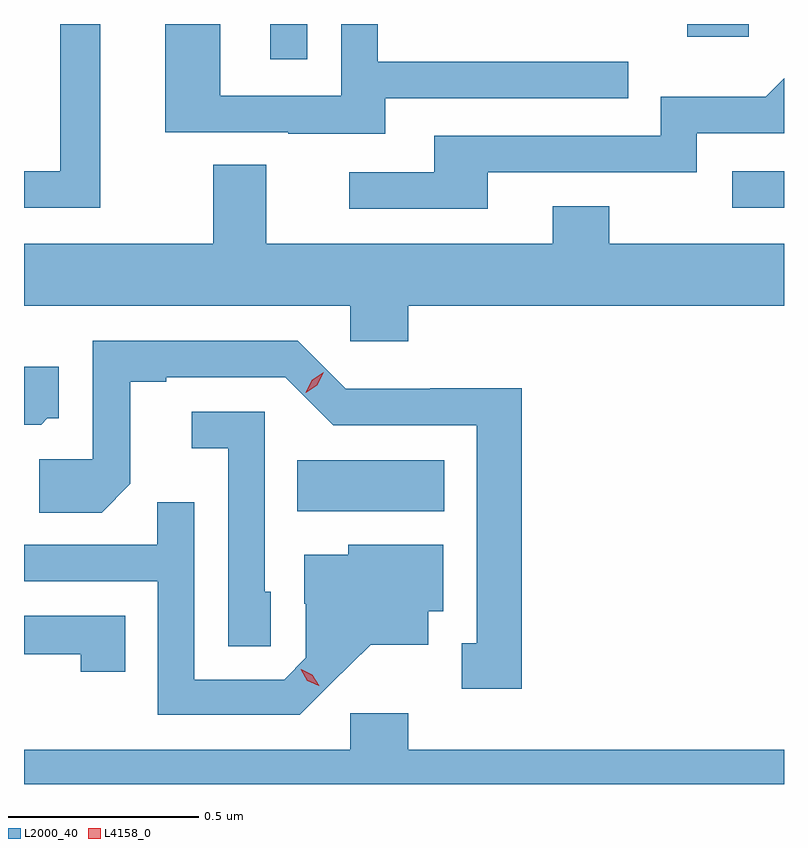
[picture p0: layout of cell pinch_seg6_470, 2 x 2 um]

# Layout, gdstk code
import gdstk
lib = gdstk.Library(unit=1e-6, precision=1e-09)
def R(c, l, rs):  # rectangles x0, y0, x1, y1
    for r in rs: c.add(gdstk.rectangle(r[:2], r[2:], *l))
def P(c, l, *ps):  # polygons
    for p in ps: c.add(gdstk.Polygon(p, *l))
L2000_40 = (2000, 40)
L4158_0 = (4158, 0)

pinch_seg6_470 = lib.new_cell('pinch_seg6_470')
R(pinch_seg6_470, L2000_40, [(731.44,930.812,731.827,930.946), (732.585,931.611,732.721,931.707), (731.369,932.001,731.466,932.094), (732.467,932.06,732.628,932.094)])
P(pinch_seg6_470, L2000_40, [(731.671,931.899),(732.311,931.899),(732.311,931.995),(731.652,931.995),(731.652,932.094),(731.556,932.094),(731.556,931.905),(731.238,931.905),(731.238,932.094),(731.093,932.094),(731.093,931.809),(731.417,931.809),(731.417,931.805),(731.671,931.805)],
  [(730.921,932.094),(730.817,932.094),(730.817,931.707),(730.721,931.707),(730.721,931.611),(730.921,931.611)],
  [(731.941,931.704),(732.492,931.704),(732.492,931.806),(732.721,931.806),(732.721,931.951),(732.673,931.903),(732.396,931.903),(732.396,931.8),(731.801,931.8),(731.801,931.704),(731.577,931.704),(731.577,931.608),(731.941,931.608)],
  [(731.732,931.352),(732.721,931.352),(732.721,931.516),(732.261,931.516),(732.261,931.615),(732.113,931.615),(732.113,931.516),(731.359,931.516),(731.359,931.724),(731.219,931.724),(731.219,931.516),(730.721,931.516),(730.721,931.352),(731.58,931.352),(731.58,931.259),(731.732,931.259)],
  [(732.031,931.136),(731.79,931.136),(731.79,931.134),(731.568,931.134),(731.442,931.26),(730.902,931.26),(730.902,930.948),(730.761,930.948),(730.761,930.808),(730.925,930.808),(731.001,930.884),(731.001,931.152),(731.095,931.152),(731.095,931.164),(731.409,931.164),(731.535,931.038),(731.912,931.038),(731.912,930.465),(731.873,930.465),(731.873,930.345),(732.031,930.345)],
  [(730.782,931.056),(730.813,931.056),(730.813,931.192),(730.721,931.192),(730.721,931.04),(730.766,931.04)],
  [(731.37,930.6),(731.355,930.6),(731.355,931.074),(731.163,931.074),(731.163,930.977),(731.259,930.977),(731.259,930.457),(731.37,930.457)],
  [(731.53,930.359),(731.633,930.461),(731.785,930.461),(731.785,930.548),(731.824,930.548),(731.824,930.724),(731.574,930.724),(731.574,930.697),(731.459,930.697),(731.459,930.568),(731.463,930.568),(731.463,930.426),(731.406,930.369),(731.169,930.369),(731.169,930.836),(731.071,930.836),(731.071,930.723),(730.721,930.723),(730.721,930.627),(731.073,930.627),(731.073,930.276),(731.446,930.276)],
  [(730.988,930.537),(730.721,930.537),(730.721,930.436),(730.87,930.436),(730.87,930.39),(730.988,930.39)],
  [(732.721,930.184),(731.732,930.184),(731.732,930.28),(731.58,930.28),(731.58,930.184),(730.721,930.184),(730.721,930.094),(732.721,930.094)])
P(pinch_seg6_470, L4158_0, [(731.462,931.124),(731.462,931.125),(731.479,931.158),(731.51,931.177),(731.51,931.177),(731.51,931.177),(731.493,931.144),(731.462,931.124)],
  [(731.497,930.352),(731.467,930.366),(731.449,930.396),(731.449,930.396),(731.45,930.396),(731.48,930.381),(731.498,930.352),(731.498,930.352)])

lib.write_gds('pinch_seg6_470.gds')
